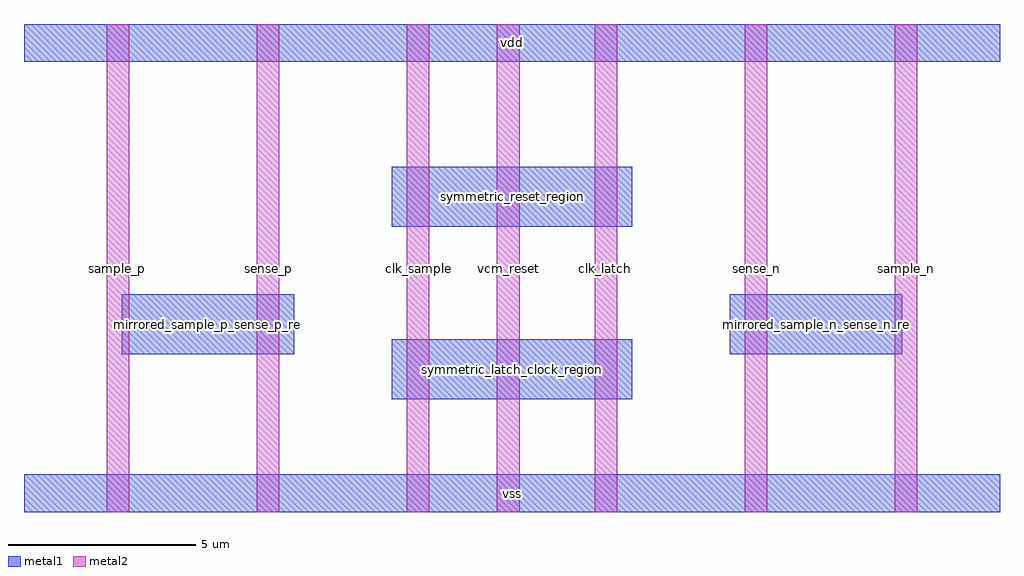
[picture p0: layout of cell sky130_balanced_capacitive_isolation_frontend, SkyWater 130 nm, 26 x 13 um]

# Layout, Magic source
magic
tech sky130A
<< metal1 >>
rect 0 0 2600 100
rect 0 1200 2600 1300
rect 260 420 720 580
rect 1880 420 2340 580
rect 980 760 1620 920
rect 980 300 1620 460
<< metal2 >>
rect 220 0 280 1300
rect 620 0 680 1300
rect 1020 0 1080 1300
rect 1260 0 1320 1300
rect 1520 0 1580 1300
rect 1920 0 1980 1300
rect 2320 0 2380 1300
<< labels >>
rlabel metal1 0 0 2600 100 0 vss
port 1 nsew
rlabel metal1 0 1200 2600 1300 0 vdd
port 2 nsew
rlabel metal2 220 0 280 1300 0 sample_p
port 3 nsew
rlabel metal2 620 0 680 1300 0 sense_p
port 4 nsew
rlabel metal2 1020 0 1080 1300 0 clk_sample
port 5 nsew
rlabel metal2 1260 0 1320 1300 0 vcm_reset
port 6 nsew
rlabel metal2 1520 0 1580 1300 0 clk_latch
port 7 nsew
rlabel metal2 1920 0 1980 1300 0 sense_n
port 8 nsew
rlabel metal2 2320 0 2380 1300 0 sample_n
port 9 nsew
rlabel metal1 260 420 720 580 0 mirrored_sample_p_sense_p_region
rlabel metal1 1880 420 2340 580 0 mirrored_sample_n_sense_n_region
rlabel metal1 980 760 1620 920 0 symmetric_reset_region
rlabel metal1 980 300 1620 460 0 symmetric_latch_clock_region
<< end >>
